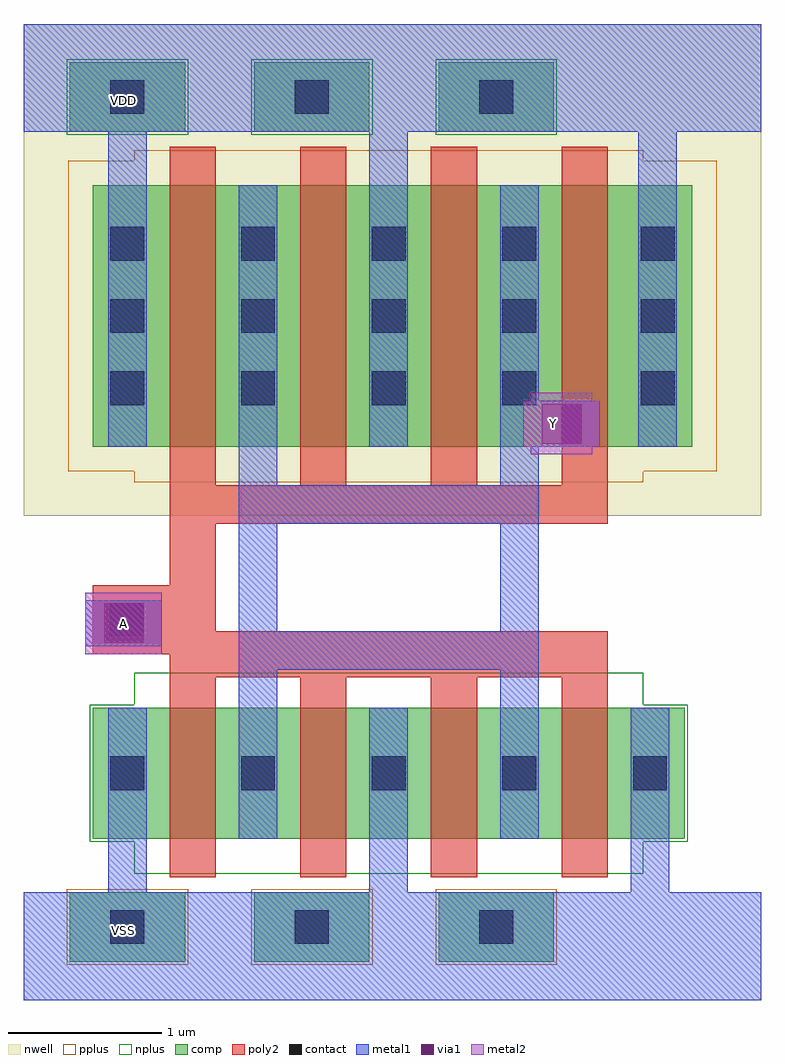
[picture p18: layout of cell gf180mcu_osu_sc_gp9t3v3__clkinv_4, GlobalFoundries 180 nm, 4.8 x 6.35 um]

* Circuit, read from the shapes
.subckt gf180mcu_osu_sc_gp9t3v3__clkinv_4 A VDD VSS Y
XM1 Y A VSS VSS nfet_03v3 w=0.85u l=0.3u m=4
XM2 Y A VDD VDD pfet_03v3 w=1.7u l=0.3u m=4
.ends

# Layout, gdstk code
import gdstk
lib = gdstk.Library(unit=1e-6, precision=1e-09)
def R(c, l, rs):  # rectangles x0, y0, x1, y1
    for r in rs: c.add(gdstk.rectangle(r[:2], r[2:], *l))
def A(c, l, x, y, w, h, nx, ny, dx, dy):  # array of equal rectangles
    R(c, l, [(x+i*dx, y+j*dy, x+i*dx+w, y+j*dy+h) for i in range(nx) for j in range(ny)])
nwell = (21, 0)
comp = (22, 0)
poly2 = (30, 0)
pplus = (31, 0)
nplus = (32, 0)
contact = (33, 0)
metal1 = (34, 0)
via1 = (35, 0)
metal2 = (36, 0)

gf180mcu_osu_sc_gp9t3v3_ = lib.new_cell('gf180mcu_osu_sc_gp9t3v3__clkinv_4')
R(gf180mcu_osu_sc_gp9t3v3_, nwell, [(0,3.15,4.8,6.35)])
A(gf180mcu_osu_sc_gp9t3v3_, comp, 0.3, 0.25, 0.75, 0.45, 3, 2, 1.2, 5.4)
R(gf180mcu_osu_sc_gp9t3v3_, comp, [(0.45,1.05,4.3,1.9), (0.45,3.6,4.35,5.3)])
A(gf180mcu_osu_sc_gp9t3v3_, poly2, 0.95, 0.8, 0.3, 1.3, 4, 1, 0.85, 0)
A(gf180mcu_osu_sc_gp9t3v3_, poly2, 0.95, 3.35, 0.3, 2.2, 4, 1, 0.85, 0)
R(gf180mcu_osu_sc_gp9t3v3_, poly2, [(0.95,2.1,3.8,2.25), (0.45,2.25,3.8,2.4), (0.45,2.4,1.25,2.7), (0.95,2.7,1.25,3.1), (0.95,3.1,3.8,3.35)])
A(gf180mcu_osu_sc_gp9t3v3_, pplus, 0.28, 0.23, 0.79, 0.49, 3, 1, 1.2, 0)
R(gf180mcu_osu_sc_gp9t3v3_, pplus, [(0.72,3.37,4.03,3.44), (0.29,3.44,4.51,5.46), (0.72,5.46,4.03,5.53)])
A(gf180mcu_osu_sc_gp9t3v3_, nplus, 0.28, 5.63, 0.79, 0.49, 3, 1, 1.2, 0)
R(gf180mcu_osu_sc_gp9t3v3_, nplus, [(0.72,0.82,4.03,1.03), (0.43,1.03,4.32,1.92), (0.72,1.92,4.03,2.13)])
A(gf180mcu_osu_sc_gp9t3v3_, contact, 0.565, 0.365, 0.22, 0.22, 3, 2, 1.2, 5.4)
A(gf180mcu_osu_sc_gp9t3v3_, contact, 0.565, 1.365, 0.22, 0.22, 5, 1, 0.85, 0)
A(gf180mcu_osu_sc_gp9t3v3_, contact, 0.565, 3.87, 0.22, 0.22, 4, 3, 0.85, 0.47)
A(gf180mcu_osu_sc_gp9t3v3_, contact, 4.015, 3.87, 0.22, 0.22, 1, 3, 0, 0.47)
R(gf180mcu_osu_sc_gp9t3v3_, contact, [(0.565,2.365,0.785,2.585)])
A(gf180mcu_osu_sc_gp9t3v3_, metal1, 0.55, 0.7, 0.25, 1.2, 3, 1, 1.7, 0)
R(gf180mcu_osu_sc_gp9t3v3_, metal1, [(0,0,4.8,0.7), (1.4,1.05,1.65,2.15), (3.1,1.05,3.35,2.15), (1.4,2.15,3.35,2.4), (0.4,2.3,0.9,2.6), (1.4,2.4,1.65,3.1), (3.1,2.4,3.35,3.1), (1.4,3.1,3.35,3.35), (1.4,3.35,1.65,5.3), (3.1,3.35,3.35,3.6), (0.55,3.6,0.8,5.65), (2.25,3.6,2.5,5.65), (3.1,3.6,3.75,3.9), (4,3.6,4.25,5.65), (3.1,3.9,3.35,5.3), (0,5.65,4.8,6.35)])
R(gf180mcu_osu_sc_gp9t3v3_, via1, [(0.52,2.32,0.78,2.58), (3.37,3.62,3.63,3.88)])
R(gf180mcu_osu_sc_gp9t3v3_, metal2, [(0.4,2.25,0.9,2.65), (3.3,3.55,3.7,3.6), (3.25,3.6,3.75,3.9), (3.3,3.9,3.7,3.95)])
gf180mcu_osu_sc_gp9t3v3_.add(gdstk.Label('A', (0.65,2.45), layer=36, texttype=10))
gf180mcu_osu_sc_gp9t3v3_.add(gdstk.Label('Y', (3.45,3.75), layer=36, texttype=10))
gf180mcu_osu_sc_gp9t3v3_.add(gdstk.Label('VDD', (0.65,5.85), layer=34, texttype=10))
gf180mcu_osu_sc_gp9t3v3_.add(gdstk.Label('VSS', (0.65,0.45), layer=34, texttype=10))

lib.write_gds('gf180mcu_osu_sc_gp9t3v3__clkinv_4.gds')
